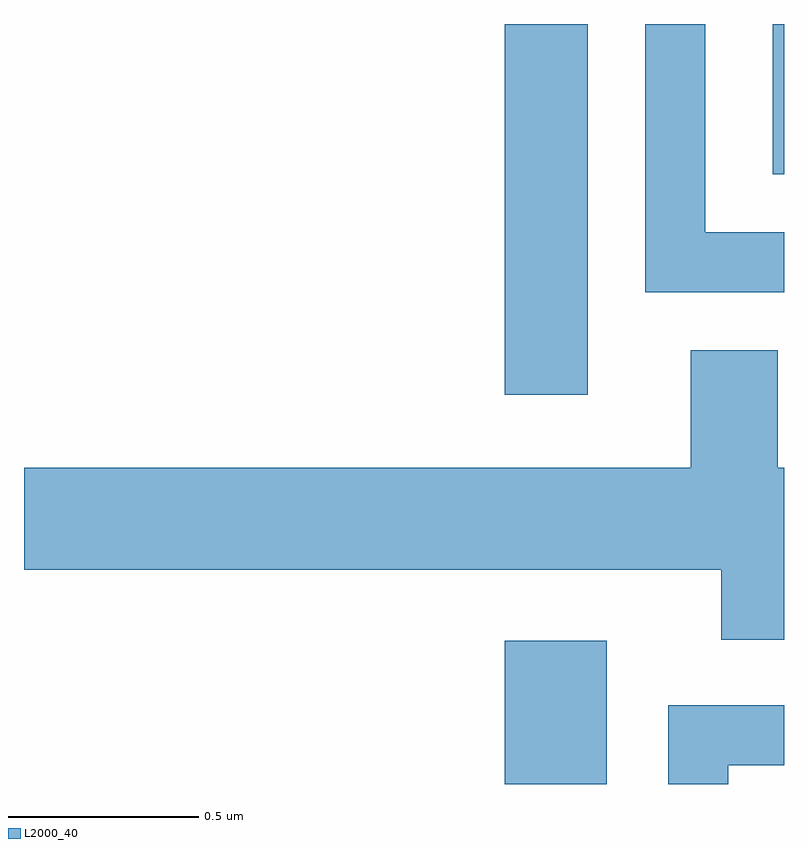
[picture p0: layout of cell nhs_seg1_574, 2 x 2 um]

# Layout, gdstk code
import gdstk
lib = gdstk.Library(unit=1e-6, precision=1e-09)
def R(c, l, rs):  # rectangles x0, y0, x1, y1
    for r in rs: c.add(gdstk.rectangle(r[:2], r[2:], *l))
def P(c, l, *ps):  # polygons
    for p in ps: c.add(gdstk.Polygon(p, *l))
L2000_40 = (2000, 40)

nhs_seg1_574 = lib.new_cell('nhs_seg1_574')
R(nhs_seg1_574, L2000_40, [(190.876,865.712,191.144,866.089), (190.876,866.736,191.094,867.712), (191.581,867.316,191.611,867.712)])
P(nhs_seg1_574, L2000_40, [(191.611,867.164),(191.404,867.164),(191.404,867.712),(191.246,867.712),(191.246,867.006),(191.611,867.006)],
  [(191.611,866.544),(191.594,866.544),(191.594,866.854),(191.366,866.854),(191.366,866.544),(189.611,866.544),(189.611,866.276),(191.446,866.276),(191.446,866.091),(191.611,866.091)],
  [(191.464,865.761),(191.611,865.761),(191.611,865.919),(191.306,865.919),(191.306,865.712),(191.464,865.712)])

lib.write_gds('nhs_seg1_574.gds')
